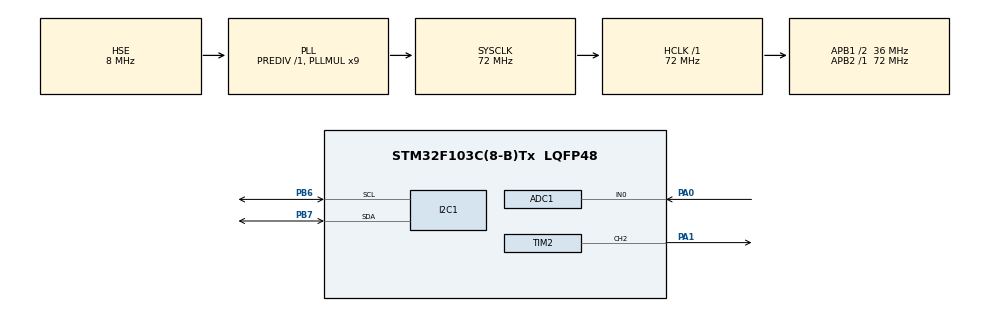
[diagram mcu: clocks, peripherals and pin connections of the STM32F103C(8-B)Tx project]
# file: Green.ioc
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ADC1.Channel-0\#ChannelRegularConversion=ADC_CHANNEL_0
ADC1.NbrOfConversionFlag=1
ADC1.Rank-0\#ChannelRegularConversion=1
ADC1.SamplingTime-0\#ChannelRegularConversion=ADC_SAMPLETIME_1CYCLE_5
ADC1.master=1
I2C1.I2C_Mode=I2C_Fast
Mcu.Family=STM32F1
Mcu.Name=STM32F103C(8-B)Tx
Mcu.Package=LQFP48
NVIC.PriorityGroup=NVIC_PRIORITYGROUP_4
PA0-WKUP.Signal=ADCx_IN0
PA1.Signal=S_TIM2_CH2
PA13.Mode=Serial_Wire
PA13.Signal=SYS_JTMS-SWDIO
PA14.Mode=Serial_Wire
PA14.Signal=SYS_JTCK-SWCLK
PB6.Mode=I2C
PB6.Signal=I2C1_SCL
PB7.Mode=I2C
PB7.Signal=I2C1_SDA
PD0-OSC_IN.Mode=HSE-External-Oscillator
PD0-OSC_IN.Signal=RCC_OSC_IN
PD1-OSC_OUT.Mode=HSE-External-Oscillator
PD1-OSC_OUT.Signal=RCC_OSC_OUT
ProjectManager.HeapSize=0x200
ProjectManager.StackSize=0x400
ProjectManager.TargetToolchain=STM32CubeIDE
RCC.AHBFreq_Value=72000000
RCC.APB1CLKDivider=RCC_HCLK_DIV2
RCC.APB1Freq_Value=36000000
RCC.APB1TimFreq_Value=72000000
RCC.APB2Freq_Value=72000000
RCC.APB2TimFreq_Value=72000000
RCC.HCLKFreq_Value=72000000
RCC.PLLMUL=RCC_PLL_MUL9
RCC.PLLSourceVirtual=RCC_PLLSOURCE_HSE
RCC.SYSCLKFreq_VALUE=72000000
RCC.SYSCLKSource=RCC_SYSCLKSOURCE_PLLCLK
RCC.USBFreq_Value=72000000
SH.ADCx_IN0.0=ADC1_IN0,IN0
SH.S_TIM2_CH2.0=TIM2_CH2,PWM Generation2 CH2
TIM1.Prescaler=71
TIM2.Channel-PWM\ Generation2\ CH2=TIM_CHANNEL_2
TIM2.Period=19999
TIM2.Prescaler=71
VP_TIM1_VS_ClockSourceINT.Mode=Internal
VP_TIM2_VS_ClockSourceINT.Mode=Internal
board=custom

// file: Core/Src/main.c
/* USER CODE BEGIN Header */
/**
  ******************************************************************************
  * @file           : main.c
  * @brief          : Main program body
  ******************************************************************************
  * @attention
  *
  * Copyright (c) 2026 STMicroelectronics.
  * All rights reserved.
  *
  * This software is licensed under terms that can be found in the LICENSE file
  * in the root directory of this software component.
  * If no LICENSE file comes with this software, it is provided AS-IS.
  *
  ******************************************************************************
  */
/* USER CODE END Header */
#include "main.h"

/* USER CODE BEGIN Includes */
	#include "fonts.h"
	#include "ssd1306.h"
	#include "stdio.h"
/* USER CODE END Includes */

ADC_HandleTypeDef hadc1;

I2C_HandleTypeDef hi2c1;

TIM_HandleTypeDef htim1;
TIM_HandleTypeDef htim2;

void SystemClock_Config(void);
static void MX_GPIO_Init(void);
static void MX_I2C1_Init(void);
static void MX_TIM1_Init(void);
static void MX_ADC1_Init(void);
static void MX_TIM2_Init(void);

/* USER CODE BEGIN 0 */

/* ===================== TEMT6000 Light Sensor ===================== */
uint32_t lightADC = 0;
uint32_t lightmV = 0;
float lightVolt = 0.0f;

uint32_t TEMT6000_Read(void)
{
  HAL_ADC_Start(&hadc1);
  HAL_ADC_PollForConversion(&hadc1, 100);
  uint32_t adcValue = HAL_ADC_GetValue(&hadc1);
  HAL_ADC_Stop(&hadc1);
  return adcValue;
}

/* ===================== BMP280 Sensor (Pressure + Temperature) ===================== */
#define BMP280_I2C       hi2c1
#define BMP280_ADDR_76   0xEC  // 0x76 << 1 (SDO → GND)
#define BMP280_ADDR_77   0xEE  // 0x77 << 1 (SDO → VCC)
uint16_t BMP280_ADDRESS  = 0xEC;  // Will be auto-detected at init

/* BMP280 Register addresses */
#define BMP280_ID_REG         0xD0
#define BMP280_RESET_REG      0xE0
#define BMP280_CTRL_MEAS_REG  0xF4
#define BMP280_CONFIG_REG     0xF5
#define BMP280_PRESS_MSB_REG  0xF7

/* Oversampling settings */
#define OSRS_OFF   0x00
#define OSRS_1     0x01
#define OSRS_2     0x02
#define OSRS_4     0x03
#define OSRS_8     0x04
#define OSRS_16    0x05

/* BMP280 Mode */
#define MODE_SLEEP   0x00
#define MODE_FORCED  0x01
#define MODE_NORMAL  0x03

/* BMP280 Standby time */
#define T_SB_0p5   0x00
#define T_SB_62p5  0x01
#define T_SB_125   0x02
#define T_SB_250   0x03
#define T_SB_500   0x04
#define T_SB_1000  0x05

/* BMP280 IIR Filter */
#define IIR_OFF  0x00
#define IIR_2    0x01
#define IIR_4    0x02
#define IIR_8    0x03
#define IIR_16   0x04

/* BMP280 Calibration coefficients (temperature + pressure only) */
uint16_t dig_T1;
int16_t  dig_T2, dig_T3;
uint16_t dig_P1;
int16_t  dig_P2, dig_P3, dig_P4, dig_P5, dig_P6, dig_P7, dig_P8, dig_P9;

int32_t t_fine;
int32_t tRaw, pRaw;
uint8_t bmpChipID;
char strCopy[20];

/* --- Read BMP280 trimming/calibration parameters --- */
static int BMP280_TrimRead(void)
{
	uint8_t trimdata[26];
	// Read temperature + pressure calibration (0x88 to 0xA1, 26 bytes)
	if (HAL_I2C_Mem_Read(&BMP280_I2C, BMP280_ADDRESS, 0x88, 1, trimdata, 26, HAL_MAX_DELAY) != HAL_OK)
		return 1;

	dig_T1 = (uint16_t)(trimdata[1] << 8 | trimdata[0]);
	dig_T2 = (int16_t)(trimdata[3] << 8 | trimdata[2]);
	dig_T3 = (int16_t)(trimdata[5] << 8 | trimdata[4]);

	dig_P1 = (uint16_t)(trimdata[7] << 8 | trimdata[6]);
	dig_P2 = (int16_t)(trimdata[9] << 8 | trimdata[8]);
	dig_P3 = (int16_t)(trimdata[11] << 8 | trimdata[10]);
	dig_P4 = (int16_t)(trimdata[13] << 8 | trimdata[12]);
	dig_P5 = (int16_t)(trimdata[15] << 8 | trimdata[14]);
	dig_P6 = (int16_t)(trimdata[17] << 8 | trimdata[16]);
	dig_P7 = (int16_t)(trimdata[19] << 8 | trimdata[18]);
	dig_P8 = (int16_t)(trimdata[21] << 8 | trimdata[20]);
	dig_P9 = (int16_t)(trimdata[23] << 8 | trimdata[22]);

	return 0;
}

/* --- Read raw sensor data (temperature + pressure, no humidity) --- */
static int BMP280_ReadRaw(void)
{
	uint8_t RawData[6];

	// Read chip ID once for diagnostics (displayed on OLED)
	HAL_I2C_Mem_Read(&BMP280_I2C, BMP280_ADDRESS, BMP280_ID_REG, 1, &bmpChipID, 1, 1000);

	// Read pressure + temperature raw data (no chip ID gate — if I2C works, read the data)
	if (HAL_I2C_Mem_Read(&BMP280_I2C, BMP280_ADDRESS, BMP280_PRESS_MSB_REG, 1, RawData, 6, HAL_MAX_DELAY) != HAL_OK)
		return 1;

	pRaw = (RawData[0]<<12)|(RawData[1]<<4)|(RawData[2]>>4);
	tRaw = (RawData[3]<<12)|(RawData[4]<<4)|(RawData[5]>>4);
	return 0;
}

/* --- Temperature compensation (identical to BME280 datasheet) --- */
static int32_t BMP280_compensate_T_int32(int32_t adc_T)
{
	int32_t var1, var2, T;
	var1 = ((((adc_T>>3) - ((int32_t)dig_T1<<1))) * ((int32_t)dig_T2)) >> 11;
	var2 = (((((adc_T>>4) - ((int32_t)dig_T1)) * ((adc_T>>4) - ((int32_t)dig_T1)))>> 12) *((int32_t)dig_T3)) >> 14;
	t_fine = var1 + var2;
	T = (t_fine * 5 + 128) >> 8;
	return T;
}

/* --- Pressure compensation (64-bit, identical to BME280 datasheet) --- */
static uint32_t BMP280_compensate_P_int64(int32_t adc_P)
{
	int64_t var1, var2, p;
	var1 = ((int64_t)t_fine) - 128000;
	var2 = var1 * var1 * (int64_t)dig_P6;
	var2 = var2 + ((var1*(int64_t)dig_P5)<<17);
	var2 = var2 + (((int64_t)dig_P4)<<35);
	var1 = ((var1 * var1 * (int64_t)dig_P3)>>8) + ((var1 * (int64_t)dig_P2)<<12);
	var1 = (((((int64_t)1)<<47)+var1))*((int64_t)dig_P1)>>33;
	if (var1 == 0) return 0;
	p = 1048576-adc_P;
	p = (((p<<31)-var2)*3125)/var1;
	var1 = (((int64_t)dig_P9) * (p>>13) * (p>>13)) >> 25;
	var2 = (((int64_t)dig_P8) * p) >> 19;
	p = ((p + var1 + var2) >> 8) + (((int64_t)dig_P7)<<4);
	return (uint32_t)p;
}

/* --- Measure BMP280 (temperature + pressure only) --- */
void BMP280_Measure(float *temperature, float *pressure)
{
	if (BMP280_ReadRaw() == 0)
	{
		// Always run temperature compensation first (sets t_fine for pressure)
		*temperature = (BMP280_compensate_T_int32(tRaw)) / 100.0f;

		// Run pressure compensation
		uint32_t pComp = BMP280_compensate_P_int64(pRaw);
		*pressure = (float)pComp / 256.0f;
	}
	else
	{
		*temperature = 0;
		*pressure    = 0;
	}
}

/* --- Configure BMP280 (no humidity register unlike BME280) --- */
int BMP280_Config(uint8_t osrs_t, uint8_t osrs_p, uint8_t mode, uint8_t t_sb, uint8_t filter)
{
	uint8_t datatowrite = 0;

	// Auto-detect BMP280 I2C address (try 0x76 first, then 0x77)
	if (HAL_I2C_IsDeviceReady(&BMP280_I2C, BMP280_ADDR_76, 3, 100) == HAL_OK)
		BMP280_ADDRESS = BMP280_ADDR_76;
	else if (HAL_I2C_IsDeviceReady(&BMP280_I2C, BMP280_ADDR_77, 3, 100) == HAL_OK)
		BMP280_ADDRESS = BMP280_ADDR_77;
	else
		return 9;  // BMP280 not found at either address

	// Reset first, then read calibration from clean state
	datatowrite = 0xB6;
	if (HAL_I2C_Mem_Write(&BMP280_I2C, BMP280_ADDRESS, BMP280_RESET_REG, 1, &datatowrite, 1, 1000) != HAL_OK)
		return 2;
	HAL_Delay(100);

	// Read calibration data after reset
	if (BMP280_TrimRead() != 0) return 1;

	// Standby time and IIR filter (must be written in sleep mode)
	datatowrite = (t_sb << 5) | (filter << 2);
	if (HAL_I2C_Mem_Write(&BMP280_I2C, BMP280_ADDRESS, BMP280_CONFIG_REG, 1, &datatowrite, 1, 1000) != HAL_OK)
		return 3;
	HAL_Delay(10);

	// Temperature + Pressure oversampling and mode (this starts measurements)
	datatowrite = (osrs_t << 5) | (osrs_p << 2) | mode;
	if (HAL_I2C_Mem_Write(&BMP280_I2C, BMP280_ADDRESS, BMP280_CTRL_MEAS_REG, 1, &datatowrite, 1, 1000) != HAL_OK)
		return 5;
	HAL_Delay(100);  // Wait for first measurement cycle

	return 0;
}

/* ===================== AHT20 Sensor (Humidity + Temperature) ===================== */
#define AHT20_I2C       hi2c1
#define AHT20_ADDRESS   0x70  // 0x38 << 1

/* AHT20 Commands */
#define AHT20_CMD_INIT      0xBE
#define AHT20_CMD_TRIGGER   0xAC
#define AHT20_CMD_SOFTRESET 0xBA

/* --- Initialize AHT20 --- */
int AHT20_Init(void)
{
	HAL_Delay(40);  // Wait 40ms after power-on

	// Read status byte
	uint8_t status = 0;
	if (HAL_I2C_Master_Receive(&AHT20_I2C, AHT20_ADDRESS, &status, 1, 1000) != HAL_OK)
		return 1;

	// Check if calibrated (bit 3)
	if (!(status & 0x08))
	{
		// Send calibration command: [0xBE, 0x08, 0x00]
		uint8_t cmd[3] = {AHT20_CMD_INIT, 0x08, 0x00};
		if (HAL_I2C_Master_Transmit(&AHT20_I2C, AHT20_ADDRESS, cmd, 3, 1000) != HAL_OK)
			return 2;
		HAL_Delay(10);
	}

	return 0;
}

/* --- Read AHT20 humidity and temperature --- */
int AHT20_Read(float *humidity, float *temperature)
{
	// Send trigger measurement command: [0xAC, 0x33, 0x00]
	uint8_t cmd[3] = {AHT20_CMD_TRIGGER, 0x33, 0x00};
	if (HAL_I2C_Master_Transmit(&AHT20_I2C, AHT20_ADDRESS, cmd, 3, 1000) != HAL_OK)
		return 1;

	HAL_Delay(80);  // Wait for measurement to complete

	// Read 7 bytes: [status, hum[19:12], hum[11:4], hum[3:0]|temp[19:16], temp[15:8], temp[7:0], CRC]
	uint8_t data[7];
	if (HAL_I2C_Master_Receive(&AHT20_I2C, AHT20_ADDRESS, data, 7, 1000) != HAL_OK)
		return 2;

	// Check if measurement is complete (bit 7 of status should be 0)
	if (data[0] & 0x80)
		return 3;  // Still busy

	// Extract raw humidity (20 bits)
	uint32_t rawH = ((uint32_t)data[1] << 12) | ((uint32_t)data[2] << 4) | ((uint32_t)data[3] >> 4);

	// Extract raw temperature (20 bits)
	uint32_t rawT = (((uint32_t)(data[3] & 0x0F)) << 16) | ((uint32_t)data[4] << 8) | (uint32_t)data[5];

	// Convert to physical values
	*humidity    = ((float)rawH / 1048576.0f) * 100.0f;
	*temperature = ((float)rawT / 1048576.0f) * 200.0f - 50.0f;

	return 0;
}

/* USER CODE END 0 */

int main(void)
{

  /* MCU Configuration--------------------------------------------------------*/

  /* Reset of all peripherals, Initializes the Flash interface and the Systick. */
  HAL_Init();

  /* Configure the system clock */
  SystemClock_Config();

  /* Initialize all configured peripherals */
  MX_GPIO_Init();
  MX_I2C1_Init();
  MX_TIM1_Init();
  MX_ADC1_Init();
  MX_TIM2_Init();
  /* USER CODE BEGIN 2 */
  SSD1306_Init();

  /* Start PWM for Servo on TIM2 CH2 (PA1) */
  HAL_TIM_PWM_Start(&htim2, TIM_CHANNEL_2);

  /* Sensor variables */
  float Temperature = 0, Pressure = 0, Humidity = 0;

  /* Servo motor variables */
  #define SERVO_CLOSED  500   // 0.5ms pulse = 0 degrees (window closed)
  #define SERVO_OPEN    2500  // 2.5ms pulse = 180 degrees (window open)
  #define TEMP_THRESHOLD 25.0f
  uint16_t currentServoPos = SERVO_CLOSED;
  uint8_t windowOpen = 0;
  __HAL_TIM_SET_COMPARE(&htim2, TIM_CHANNEL_2, SERVO_CLOSED); // Start closed

  /* Configure BMP280: Temp x2, Pres x16, Normal mode, 0.5ms standby, IIR 16 */
  int bmpStatus = BMP280_Config(OSRS_2, OSRS_16, MODE_NORMAL, T_SB_0p5, IIR_16);
  if (bmpStatus != 0)
  {
	  SSD1306_GotoXY(0, 0);
	  SSD1306_Puts("BMP280 ERROR", &Font_11x18, 1);
	  SSD1306_UpdateScreen();
	  HAL_Delay(2000);  // Show error for 2 seconds so user can see it
  }

  /* Initialize AHT20 humidity sensor */
  if (AHT20_Init() != 0)
  {
	  SSD1306_GotoXY(0, 0);
	  SSD1306_Puts("AHT20 ERROR", &Font_11x18, 1);
	  SSD1306_UpdateScreen();
  }
  /* USER CODE END 2 */

  /* Infinite loop */
  /* USER CODE BEGIN WHILE */
  while (1)
  {

	  /* ---- Read TEMT6000 Light Sensor ---- */
	  lightADC = TEMT6000_Read();
	  lightmV = (lightADC * 3300) / 4095;
	  lightVolt = (float)lightmV / 1000.0f;

	  /* ---- Read BMP280 Sensor (Temperature + Pressure) ---- */
	  float bmpTemp = 0;
	  BMP280_Measure(&bmpTemp, &Pressure);

	  /* ---- Read AHT20 Sensor (Humidity + Temperature) ---- */
	  if (AHT20_Read(&Humidity, &Temperature) != 0)
	  {
		  Temperature = bmpTemp;  // Fallback to BMP280 temperature
	  }

	  /* ---- Servo Motor: Automatic Window Control ---- */
	  if (Temperature > TEMP_THRESHOLD && !windowOpen)
	  {
		  // Smoothly open window (0° → 180°)
		  for (uint16_t pos = currentServoPos; pos <= SERVO_OPEN; pos += 10)
		  {
			  __HAL_TIM_SET_COMPARE(&htim2, TIM_CHANNEL_2, pos);
			  HAL_Delay(3);
		  }
		  currentServoPos = SERVO_OPEN;
		  windowOpen = 1;
	  }
	  else if (Temperature <= TEMP_THRESHOLD && windowOpen)
	  {
		  // Smoothly close window (180° → 0°)
		  for (int16_t pos = currentServoPos; pos >= SERVO_CLOSED; pos -= 10)
		  {
			  __HAL_TIM_SET_COMPARE(&htim2, TIM_CHANNEL_2, (uint16_t)pos);
			  HAL_Delay(3);
		  }
		  currentServoPos = SERVO_CLOSED;
		  windowOpen = 0;
	  }

	  /* ---- Display on OLED ---- */
	  SSD1306_Fill(0);  // Clear screen

	  // Line 1 (Y=0): Temperature in Celsius
	  sprintf(strCopy,"T:%.2f C", Temperature);
	  SSD1306_GotoXY(0, 0);
	  SSD1306_Puts(strCopy, &Font_7x10, 1);

	  // Line 2 (Y=12): Humidity in %RH
	  sprintf(strCopy,"H:%.2f %%", Humidity);
	  SSD1306_GotoXY(0, 12);
	  SSD1306_Puts(strCopy, &Font_7x10, 1);

	  // Line 3 (Y=24): Pressure in hPa
	  sprintf(strCopy,"P:%.1f hPa", Pressure / 100.0f);
	  SSD1306_GotoXY(0, 24);
	  SSD1306_Puts(strCopy, &Font_7x10, 1);

	  // Line 4 (Y=36): Light level (TEMT6000)
	  sprintf(strCopy,"L:%lumV %.2fV", lightmV, lightVolt);
	  SSD1306_GotoXY(0, 36);
	  SSD1306_Puts(strCopy, &Font_7x10, 1);

	  // Line 5 (Y=50): Window status
	  sprintf(strCopy,"Win:%s", windowOpen ? "OPEN" : "CLOSED");
	  SSD1306_GotoXY(0, 50);
	  SSD1306_Puts(strCopy, &Font_7x10, 1);

	  SSD1306_UpdateScreen();

	  HAL_Delay(1000);

    /* USER CODE END WHILE */

  }
}

void SystemClock_Config(void)
{
  RCC_OscInitTypeDef RCC_OscInitStruct = {0};
  RCC_ClkInitTypeDef RCC_ClkInitStruct = {0};
  RCC_PeriphCLKInitTypeDef PeriphClkInit = {0};

  /** Initializes the RCC Oscillators according to the specified parameters
  * in the RCC_OscInitTypeDef structure.
  */
  RCC_OscInitStruct.OscillatorType = RCC_OSCILLATORTYPE_HSE;
  RCC_OscInitStruct.HSEState = RCC_HSE_ON;
  RCC_OscInitStruct.HSEPredivValue = RCC_HSE_PREDIV_DIV1;
  RCC_OscInitStruct.HSIState = RCC_HSI_ON;
  RCC_OscInitStruct.PLL.PLLState = RCC_PLL_ON;
  RCC_OscInitStruct.PLL.PLLSource = RCC_PLLSOURCE_HSE;
  RCC_OscInitStruct.PLL.PLLMUL = RCC_PLL_MUL9;
  if (HAL_RCC_OscConfig(&RCC_OscInitStruct) != HAL_OK)
  {
    Error_Handler();
  }

  /** Initializes the CPU, AHB and APB buses clocks
  */
  RCC_ClkInitStruct.ClockType = RCC_CLOCKTYPE_HCLK|RCC_CLOCKTYPE_SYSCLK
                              |RCC_CLOCKTYPE_PCLK1|RCC_CLOCKTYPE_PCLK2;
  RCC_ClkInitStruct.SYSCLKSource = RCC_SYSCLKSOURCE_PLLCLK;
  RCC_ClkInitStruct.AHBCLKDivider = RCC_SYSCLK_DIV1;
  RCC_ClkInitStruct.APB1CLKDivider = RCC_HCLK_DIV2;
  RCC_ClkInitStruct.APB2CLKDivider = RCC_HCLK_DIV1;

  if (HAL_RCC_ClockConfig(&RCC_ClkInitStruct, FLASH_LATENCY_2) != HAL_OK)
  {
    Error_Handler();
  }
  PeriphClkInit.PeriphClockSelection = RCC_PERIPHCLK_ADC;
  PeriphClkInit.AdcClockSelection = RCC_ADCPCLK2_DIV2;
  if (HAL_RCCEx_PeriphCLKConfig(&PeriphClkInit) != HAL_OK)
  {
    Error_Handler();
  }
}

static void MX_ADC1_Init(void)
{

  ADC_ChannelConfTypeDef sConfig = {0};

  /** Common config
  */
  hadc1.Instance = ADC1;
  hadc1.Init.ScanConvMode = ADC_SCAN_DISABLE;
  hadc1.Init.ContinuousConvMode = DISABLE;
  hadc1.Init.DiscontinuousConvMode = DISABLE;
  hadc1.Init.ExternalTrigConv = ADC_SOFTWARE_START;
  hadc1.Init.DataAlign = ADC_DATAALIGN_RIGHT;
  hadc1.Init.NbrOfConversion = 1;
  if (HAL_ADC_Init(&hadc1) != HAL_OK)
  {
    Error_Handler();
  }

  /** Configure Regular Channel
  */
  sConfig.Channel = ADC_CHANNEL_0;
  sConfig.Rank = ADC_REGULAR_RANK_1;
  sConfig.SamplingTime = ADC_SAMPLETIME_239CYCLES_5;  // Max sampling time for TEMT6000 accuracy
  if (HAL_ADC_ConfigChannel(&hadc1, &sConfig) != HAL_OK)
  {
    Error_Handler();
  }
  /* USER CODE BEGIN ADC1_Init 2 */
  HAL_ADCEx_Calibration_Start(&hadc1);  // Run ADC self-calibration for accuracy
  /* USER CODE END ADC1_Init 2 */

}

static void MX_I2C1_Init(void)
{

  hi2c1.Instance = I2C1;
  hi2c1.Init.ClockSpeed = 400000;
  hi2c1.Init.DutyCycle = I2C_DUTYCYCLE_2;
  hi2c1.Init.OwnAddress1 = 0;
  hi2c1.Init.AddressingMode = I2C_ADDRESSINGMODE_7BIT;
  hi2c1.Init.DualAddressMode = I2C_DUALADDRESS_DISABLE;
  hi2c1.Init.OwnAddress2 = 0;
  hi2c1.Init.GeneralCallMode = I2C_GENERALCALL_DISABLE;
  hi2c1.Init.NoStretchMode = I2C_NOSTRETCH_DISABLE;
  if (HAL_I2C_Init(&hi2c1) != HAL_OK)
  {
    Error_Handler();
  }

}

static void MX_TIM1_Init(void)
{

  TIM_ClockConfigTypeDef sClockSourceConfig = {0};
  TIM_MasterConfigTypeDef sMasterConfig = {0};

  htim1.Instance = TIM1;
  htim1.Init.Prescaler = 71;
  htim1.Init.CounterMode = TIM_COUNTERMODE_UP;
  htim1.Init.Period = 65535;
  htim1.Init.ClockDivision = TIM_CLOCKDIVISION_DIV1;
  htim1.Init.RepetitionCounter = 0;
  htim1.Init.AutoReloadPreload = TIM_AUTORELOAD_PRELOAD_DISABLE;
  if (HAL_TIM_Base_Init(&htim1) != HAL_OK)
  {
    Error_Handler();
  }
  sClockSourceConfig.ClockSource = TIM_CLOCKSOURCE_INTERNAL;
  if (HAL_TIM_ConfigClockSource(&htim1, &sClockSourceConfig) != HAL_OK)
  {
    Error_Handler();
  }
  sMasterConfig.MasterOutputTrigger = TIM_TRGO_RESET;
  sMasterConfig.MasterSlaveMode = TIM_MASTERSLAVEMODE_DISABLE;
  if (HAL_TIMEx_MasterConfigSynchronization(&htim1, &sMasterConfig) != HAL_OK)
  {
    Error_Handler();
  }

}

static void MX_TIM2_Init(void)
{

  TIM_ClockConfigTypeDef sClockSourceConfig = {0};
  TIM_MasterConfigTypeDef sMasterConfig = {0};
  TIM_OC_InitTypeDef sConfigOC = {0};

  htim2.Instance = TIM2;
  htim2.Init.Prescaler = 71;
  htim2.Init.CounterMode = TIM_COUNTERMODE_UP;
  htim2.Init.Period = 19999;
  htim2.Init.ClockDivision = TIM_CLOCKDIVISION_DIV1;
  htim2.Init.AutoReloadPreload = TIM_AUTORELOAD_PRELOAD_DISABLE;
  if (HAL_TIM_Base_Init(&htim2) != HAL_OK)
  {
    Error_Handler();
  }
  sClockSourceConfig.ClockSource = TIM_CLOCKSOURCE_INTERNAL;
  if (HAL_TIM_ConfigClockSource(&htim2, &sClockSourceConfig) != HAL_OK)
  {
    Error_Handler();
  }
  if (HAL_TIM_PWM_Init(&htim2) != HAL_OK)
  {
    Error_Handler();
  }
  sMasterConfig.MasterOutputTrigger = TIM_TRGO_RESET;
  sMasterConfig.MasterSlaveMode = TIM_MASTERSLAVEMODE_DISABLE;
  if (HAL_TIMEx_MasterConfigSynchronization(&htim2, &sMasterConfig) != HAL_OK)
  {
    Error_Handler();
  }
  sConfigOC.OCMode = TIM_OCMODE_PWM1;
  sConfigOC.Pulse = 0;
  sConfigOC.OCPolarity = TIM_OCPOLARITY_HIGH;
  sConfigOC.OCFastMode = TIM_OCFAST_DISABLE;
  if (HAL_TIM_PWM_ConfigChannel(&htim2, &sConfigOC, TIM_CHANNEL_2) != HAL_OK)
  {
    Error_Handler();
  }
  HAL_TIM_MspPostInit(&htim2);

}

static void MX_GPIO_Init(void)
{

  /* GPIO Ports Clock Enable */
  __HAL_RCC_GPIOD_CLK_ENABLE();
  __HAL_RCC_GPIOA_CLK_ENABLE();
  __HAL_RCC_GPIOB_CLK_ENABLE();

}

void Error_Handler(void)
{
  __disable_irq();
  while (1)
  {
  }
}
